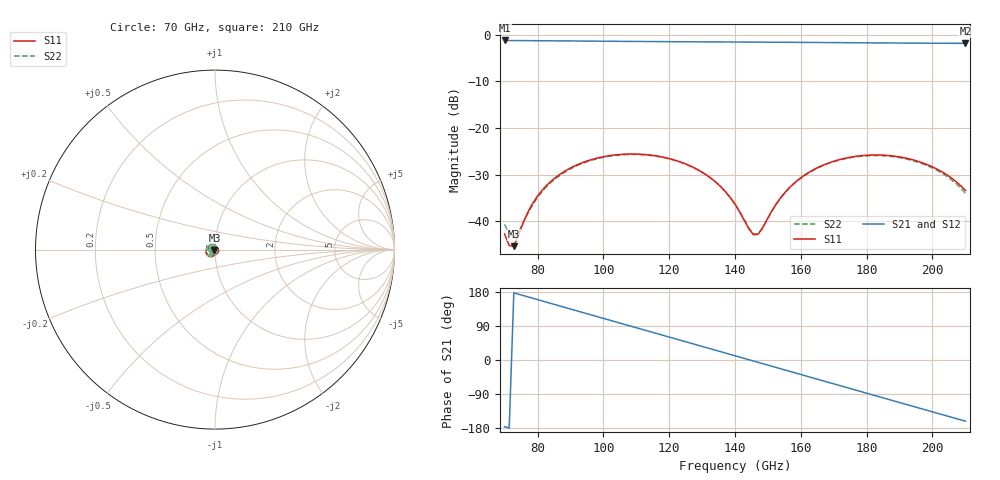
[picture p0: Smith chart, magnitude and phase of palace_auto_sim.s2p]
#  GHZ S DB R 50
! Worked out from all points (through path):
!   101 points, 70 GHz to 210 GHz, reference 50 ohm
!   highest |S21| = -1.22 dB at 70 GHz (marker M1); lowest = -1.8 dB at 210 GHz (marker M2)
!   group delay of S21, straight-line fit = 6.86 ps
!   lowest |S11| = -45.4 dB at 72.8 GHz (marker M3), VSWR 1.01, Z = 49.7 - j0.443 ohm
!   |S11| at or under -10 dB: start of sweep to end of sweep
!   |S22| runs from -43.5 to -25.7 dB; largest |S21 - S12| = 1e-13
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70  -42.74 -177.3  -1.22 -175.9  -1.22 -175.9  -40.70 -176.7
71.4  -45.21 -155.7  -1.23 -179.4  -1.23 -179.4  -42.69 -161.4
72.8  -45.36 -124.2  -1.23 177.1  -1.23 177.1  -43.50 -138.5
74.2  -43.04 -101.5  -1.24 173.7  -1.24 173.7  -42.42 -116.6
77  -38.16 -86.7  -1.26 166.7  -1.26 166.7  -38.39 -96.1
81.2  -33.53 -87.5  -1.28 156.4  -1.28 156.4  -33.82 -92.8
86.8  -29.94 -97.6  -1.31 142.5  -1.31 142.5  -30.16 -101.0
93.8  -27.39 -113.4  -1.35 125.2  -1.35 125.2  -27.55 -115.9
106.4  -25.62 -143.6  -1.41 94.1  -1.41 94.1  -25.73 -145.3
117.6  -26.18 -169.9  -1.47 66.5  -1.47 66.5  -26.25 -171.3
130.2  -29.57 163.4  -1.52 35.4  -1.52 35.4  -29.60 162.2
135.8  -32.69 155.1  -1.54 21.6  -1.54 21.6  -32.70 154.1
140  -36.37 154.7  -1.55 11.2  -1.55 11.2  -36.32 153.7
144.2  -41.61 174.7  -1.57 0.8  -1.57 0.8  -41.46 173.1
145.6  -42.90 -167.5  -1.57 -2.6  -1.57 -2.6  -42.75 -169.7
147  -42.81 -146.4  -1.58 -6.1  -1.58 -6.1  -42.74 -149.1
155.4  -33.65 -110.2  -1.61 -26.9  -1.61 -26.9  -33.76 -112.0
163.8  -28.98 -122.0  -1.65 -47.6  -1.65 -47.6  -29.08 -123.7
176.4  -26.11 -148.3  -1.71 -78.7  -1.71 -78.7  -26.23 -150.2
187.6  -25.97 -173.0  -1.76 -106.3  -1.76 -106.3  -26.12 -175.3
200.2  -28.41 161.2  -1.81 -137.3  -1.81 -137.3  -28.66 157.7
210  -33.38 148.8  -1.84 -161.4  -1.84 -161.4  -34.01 142.7
